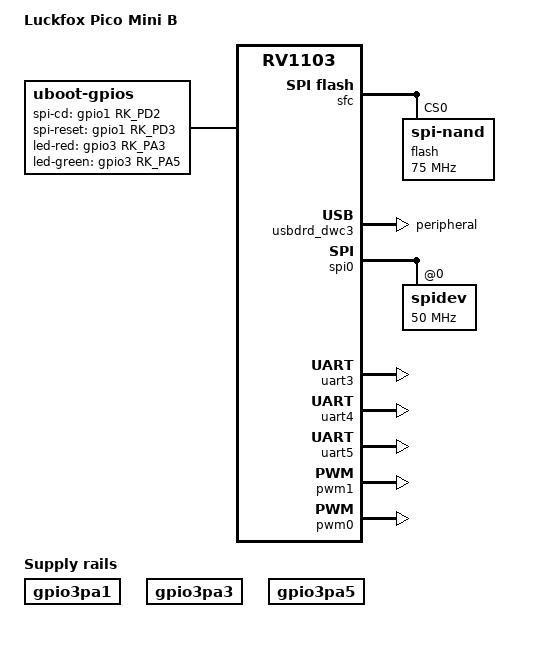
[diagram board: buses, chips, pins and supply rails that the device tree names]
// SPDX-License-Identifier: (GPL-2.0+ OR MIT)
/*
 * Copyright (c) 2023 Luckfox Electronics Co., Ltd.
 */

/dts-v1/;

#include "rv1103.dtsi"
#include "rv1106-evb.dtsi"
#include "rv1103-luckfox-pico-ipc.dtsi"

/ {
	model = "Luckfox Pico Mini B";
	compatible = "rockchip,rv1103g-38x38-ipc-v10", "rockchip,rv1103";

    gpio3pa1:gpio3pa1 {
        compatible = "regulator-fixed";
        pinctrl-names = "default";
        pinctrl-0 = <&gpio3_pa1>;
        regulator-name = "gpio3_pa1";
        regulator-always-on;
    };
    gpio3pa2:gpio3pa2 {
        compatible = "ir_rx-fixed";
        pinctrl-names = "default";
        pinctrl-0 = <&gpio3_pa2>;
        regulator-name = "gpio3_pa2";
        regulator-always-on;
    };
    gpio3pa3:gpio3pa3 {
        compatible = "regulator-fixed";
        pinctrl-names = "default";
        pinctrl-0 = <&gpio3_pa3>;
        regulator-name = "gpio3_pa3";
        regulator-always-on;
    };
    gpio3pa5:gpio3pa5 {
        compatible = "regulator-fixed";
        pinctrl-names = "default";
        pinctrl-0 = <&gpio3_pa5>;
        regulator-name = "gpio3_pa5";
        regulator-always-on;
    };

    // for u-boot
	uboot-gpios {
		compatible = "uboot-gpios";
		u-boot,dm-pre-reloc;
		status = "okay";

		spi-cd = <&gpio1 RK_PD2 GPIO_ACTIVE_HIGH>;
		spi-reset = <&gpio1 RK_PD3 GPIO_ACTIVE_HIGH>;
		led-red = <&gpio3 RK_PA3 GPIO_ACTIVE_HIGH>;
		led-green = <&gpio3 RK_PA5 GPIO_ACTIVE_HIGH>;
	};
};

/**********GPIO**********/
&pinctrl {
    gpio3-pa1 {
        gpio3_pa1:gpio3-pa1 {
            rockchip,pins = <3 RK_PA1 RK_FUNC_GPIO &pcfg_pull_none>;
    	};
	};
    gpio3-pa2 {
        gpio3_pa2:gpio3-pa2 {
            rockchip,pins = <3 RK_PA2 RK_FUNC_GPIO &pcfg_pull_none>;
    	};
	};
    gpio3-pa3 {
        gpio3_pa3:gpio3-pa3 {
            rockchip,pins = <3 RK_PA3 RK_FUNC_GPIO &pcfg_pull_none>;
    	};
	};
    gpio3-pa5 {
        gpio3_pa5:gpio3-pa5 {
            rockchip,pins = <3 RK_PA5 RK_FUNC_GPIO &pcfg_pull_none>;
    	};
	};
};

/**********SFC**********/
&sfc {
	status = "okay";
	flash@0 {
		compatible = "spi-nand";
		reg = <0>;
		spi-max-frequency = <75000000>;
		spi-rx-bus-width = <4>;
		spi-tx-bus-width = <1>;
	};
};

/**********SDMMC**********/
// &sdmmc {
// 	status = "disabled";
	// max-frequency = <50000000>;
	// no-sdio;
	// no-mmc;
	// bus-width = <4>;
	// cap-mmc-highspeed;
	// cap-sd-highspeed;
	// disable-wp;
	// pinctrl-names = "default";
	// pinctrl-0 = <&sdmmc0_clk &sdmmc0_cmd &sdmmc0_det &sdmmc0_bus4>;
// };

/**********ETH**********/
&gmac {
	status = "disabled";
};

/**********USB**********/
&usbdrd_dwc3 {
	status = "okay";
	dr_mode = "peripheral";
};

/**********SPI**********/
/* SPI0_M0 for oled */
&spi0 {
	status = "okay";
	spidev@0 {
		spi-max-frequency = <50000000>;
	};
};

/**********I2C**********/
/* I2C3_M1 */
&i2c3 {
	status = "disabled";
	clock-frequency = <100000>;
};

/**********UART**********/
/* UART3_M1 for 485 */
&uart3 {
	status = "okay";
};

/* UART4_M1 for ble */
&uart4 {
	status = "okay";
};

/* UART5_M2 for stc */
&uart5 {
	status = "okay";
	pinctrl-0 = <&uart5m2_xfer>;
};

/**********PWM**********/
/* PWM1_M0, for buzzer */
&pwm1 {
	status = "okay";
};
/* PWM0_M0, for 38k */
&pwm0 {
	status = "okay";
	pinctrl-0 = <&pwm0m0_pins>;
};
